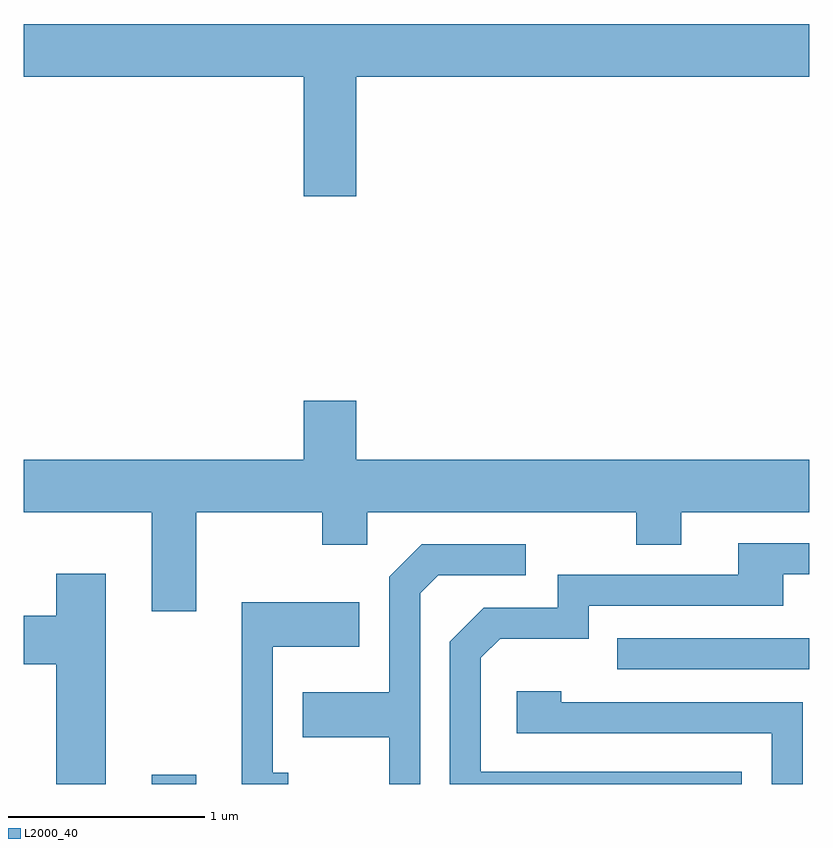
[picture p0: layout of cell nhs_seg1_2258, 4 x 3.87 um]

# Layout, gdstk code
import gdstk
lib = gdstk.Library(unit=1e-6, precision=1e-09)
def R(c, l, rs):  # rectangles x0, y0, x1, y1
    for r in rs: c.add(gdstk.rectangle(r[:2], r[2:], *l))
def P(c, l, *ps):  # polygons
    for p in ps: c.add(gdstk.Polygon(p, *l))
L2000_40 = (2000, 40)

nhs_seg1_2258 = lib.new_cell('nhs_seg1_2258')
R(nhs_seg1_2258, L2000_40, [(254.261,933.712,254.489,933.759), (256.633,934.296,257.611,934.454)])
P(nhs_seg1_2258, L2000_40, [(255.304,937.316),(257.611,937.316),(257.611,937.584),(253.611,937.584),(253.611,937.316),(255.036,937.316),(255.036,936.706),(255.304,936.706)],
  [(254.489,935.096),(255.131,935.096),(255.131,934.931),(255.359,934.931),(255.359,935.096),(256.731,935.096),(256.731,934.931),(256.959,934.931),(256.959,935.096),(257.611,935.096),(257.611,935.364),(255.304,935.364),(255.304,935.664),(255.036,935.664),(255.036,935.364),(253.611,935.364),(253.611,935.096),(254.261,935.096),(254.261,934.591),(254.489,934.591)],
  [(257.269,933.774),(255.939,933.774),(255.939,934.354),(256.037,934.451),(256.489,934.451),(256.489,934.621),(257.479,934.621),(257.479,934.781),(257.611,934.781),(257.611,934.939),(257.251,934.939),(257.251,934.779),(256.331,934.779),(256.331,934.609),(255.954,934.609),(255.781,934.437),(255.781,933.712),(257.269,933.712)],
  [(255.629,934.684),(255.722,934.776),(256.168,934.776),(256.168,934.934),(255.639,934.934),(255.471,934.767),(255.471,934.179),(255.031,934.179),(255.031,933.951),(255.471,933.951),(255.471,933.712),(255.629,933.712)],
  [(254.029,934.784),(253.776,934.784),(253.776,934.569),(253.611,934.569),(253.611,934.321),(253.776,934.321),(253.776,933.712),(254.029,933.712)],
  [(254.958,933.769),(254.879,933.769),(254.879,934.411),(255.319,934.411),(255.319,934.639),(254.721,934.639),(254.721,933.712),(254.958,933.712)],
  [(257.579,934.129),(256.349,934.129),(256.349,934.184),(256.121,934.184),(256.121,933.971),(257.421,933.971),(257.421,933.712),(257.579,933.712)])

lib.write_gds('nhs_seg1_2258.gds')
